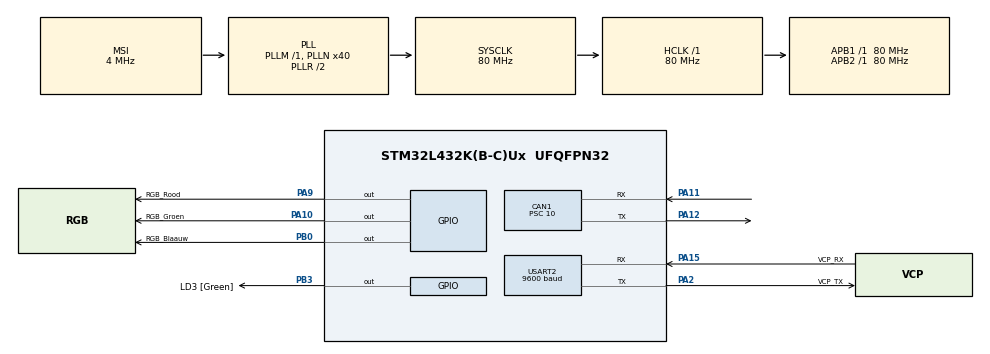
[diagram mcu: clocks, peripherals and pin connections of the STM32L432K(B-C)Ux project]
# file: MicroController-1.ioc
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CAN1.AWUM=ENABLE
CAN1.BS1=CAN_BS1_13TQ
CAN1.BS2=CAN_BS2_2TQ
CAN1.CalculateBaudRate=500000
CAN1.CalculateTimeBit=2000
CAN1.CalculateTimeQuantum=125.0
CAN1.NART=ENABLE
CAN1.Prescaler=10
Mcu.Family=STM32L4
Mcu.Name=STM32L432K(B-C)Ux
Mcu.Package=UFQFPN32
NVIC.CAN1_RX0_IRQn=true\:0\:0\:false\:false\:true\:true\:true\:true
NVIC.PriorityGroup=NVIC_PRIORITYGROUP_4
PA0.GPIO_Label=MCO [High speed clock in]
PA0.Mode=HSE-External-Clock-Source-for-LittleOrca
PA0.Signal=RCC_CK_IN
PA10.GPIO_Label=RGB_Groen
PA10.Signal=GPIO_Output
PA11.Mode=CAN_Activate
PA11.Signal=CAN1_RX
PA12.Mode=CAN_Activate
PA12.Signal=CAN1_TX
PA13\ (JTMS-SWDIO).GPIO_Label=SWDIO
PA13\ (JTMS-SWDIO).Mode=Serial_Wire
PA13\ (JTMS-SWDIO).Signal=SYS_JTMS-SWDIO
PA14\ (JTCK-SWCLK).GPIO_Label=SWCLK
PA14\ (JTCK-SWCLK).Mode=Serial_Wire
PA14\ (JTCK-SWCLK).Signal=SYS_JTCK-SWCLK
PA15\ (JTDI).GPIO_Label=VCP_RX
PA15\ (JTDI).Mode=Asynchronous
PA15\ (JTDI).Signal=USART2_RX
PA2.GPIO_Label=VCP_TX
PA2.Mode=Asynchronous
PA2.Signal=USART2_TX
PA9.GPIO_Label=RGB_Rood
PA9.Signal=GPIO_Output
PB0.GPIO_Label=RGB_Blaauw
PB0.Signal=GPIO_Output
PB3\ (JTDO-TRACESWO).GPIO_Label=LD3 [Green]
PB3\ (JTDO-TRACESWO).GPIO_Speed=GPIO_SPEED_FREQ_LOW
PB3\ (JTDO-TRACESWO).Signal=GPIO_Output
PC14-OSC32_IN\ (PC14).Mode=LSE-External-Oscillator
PC14-OSC32_IN\ (PC14).Signal=RCC_OSC32_IN
PC15-OSC32_OUT\ (PC15).Mode=LSE-External-Oscillator
PC15-OSC32_OUT\ (PC15).Signal=RCC_OSC32_OUT
ProjectManager.HeapSize=0x200
ProjectManager.StackSize=0x400
ProjectManager.TargetToolchain=STM32CubeIDE
RCC.AHBFreq_Value=80000000
RCC.APB1Freq_Value=80000000
RCC.APB1TimFreq_Value=80000000
RCC.APB2Freq_Value=80000000
RCC.APB2TimFreq_Value=80000000
RCC.CortexFreq_Value=80000000
RCC.HCLKFreq_Value=80000000
RCC.HSE_VALUE=8000000
RCC.HSI16_VALUE=16000000
RCC.HSI48_VALUE=48000000
RCC.HSI_VALUE=16000000
RCC.MSI_VALUE=4000000
RCC.PLLMUL=RCC_PLLMUL_4
RCC.PLLN=40
RCC.SYSCLKFreq_VALUE=80000000
RCC.SYSCLKSource=RCC_SYSCLKSOURCE_PLLCLK
RCC.VCOOutputFreq_Value=160000000
USART2.BaudRate=9600
USART2.VirtualMode-Asynchronous=VM_ASYNC
board=NUCLEO-L432KC

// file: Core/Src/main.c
/* USER CODE BEGIN Header */
/**
  ******************************************************************************
  * @file           : main.c
  * @brief          : Main program body
  ******************************************************************************
  * @attention
  *
  * Copyright (c) 2026 STMicroelectronics.
  * All rights reserved.
  *
  * This software is licensed under terms that can be found in the LICENSE file
  * in the root directory of this software component.
  * If no LICENSE file comes with this software, it is provided AS-IS.
  *
  ******************************************************************************
  */
/* USER CODE END Header */
#include "main.h"

/* USER CODE BEGIN Includes */
#include <stdio.h>
#include <string.h>
/* USER CODE END Includes */

CAN_HandleTypeDef hcan1;

UART_HandleTypeDef huart2;

/* USER CODE BEGIN PV */
CAN_TxHeaderTypeDef TxHeader;
CAN_RxHeaderTypeDef RxHeader;
uint8_t TxData[8];
uint8_t RxData[8];
uint32_t TxMailbox;
uint8_t datacheck = 0;
uint8_t RTRReceived = 0;
/* USER CODE END PV */

void SystemClock_Config(void);
static void MX_GPIO_Init(void);
static void MX_USART2_UART_Init(void);
static void MX_CAN1_Init(void);
/* USER CODE BEGIN PFP */
void SendCanMessage(int dataLength, uint64_t data);
/* USER CODE END PFP */

/* USER CODE BEGIN 0 */
void DiscoDisco (){
	  HAL_GPIO_WritePin(GPIOA, RGB_Rood_Pin, GPIO_PIN_SET);
	  HAL_Delay(200);
	  HAL_GPIO_WritePin(GPIOA, RGB_Rood_Pin, GPIO_PIN_RESET);
	  HAL_GPIO_WritePin(GPIOA, RGB_Groen_Pin, GPIO_PIN_SET);
	  HAL_Delay(200);
	  HAL_GPIO_WritePin(GPIOA, RGB_Groen_Pin, GPIO_PIN_RESET);
	  HAL_GPIO_WritePin(GPIOB, RGB_Blaauw_Pin, GPIO_PIN_SET);
	  HAL_Delay(200);
	  HAL_GPIO_WritePin(GPIOB, RGB_Blaauw_Pin, GPIO_PIN_RESET);
}
/* USER CODE END 0 */

int main(void)
{

  /* MCU Configuration--------------------------------------------------------*/

  /* Reset of all peripherals, Initializes the Flash interface and the Systick. */
  HAL_Init();

  /* Configure the system clock */
  SystemClock_Config();

  /* Initialize all configured peripherals */
  MX_GPIO_Init();
  MX_USART2_UART_Init();
  MX_CAN1_Init();
  /* USER CODE BEGIN 2 */
  CAN_FilterTypeDef canfilterconfig;

  canfilterconfig.FilterActivation = CAN_FILTER_ENABLE;
  canfilterconfig.FilterBank = 0;  // which filter bank to use from the assigned ones
  canfilterconfig.FilterFIFOAssignment = CAN_FILTER_FIFO0;
  canfilterconfig.FilterIdHigh = 0x113<<5;
  canfilterconfig.FilterIdLow = 0;
  canfilterconfig.FilterMaskIdHigh = 0x7FC<<5;
  canfilterconfig.FilterMaskIdLow = 0x0000;
  canfilterconfig.FilterMode = CAN_FILTERMODE_IDMASK;
  canfilterconfig.FilterScale = CAN_FILTERSCALE_32BIT;
  canfilterconfig.SlaveStartFilterBank = 10;  // how many filters to assign to the CAN1 (master can)

  HAL_CAN_ConfigFilter(&hcan1, &canfilterconfig);

  if (HAL_CAN_Start(&hcan1) != HAL_OK) {
	  Error_Handler();
  }

  TxHeader.IDE = CAN_ID_STD;
  TxHeader.StdId = 0x112;
  TxHeader.RTR = CAN_RTR_DATA;
  TxHeader.DLC = 1;

  if (HAL_CAN_ActivateNotification(&hcan1, CAN_IT_RX_FIFO0_MSG_PENDING) != HAL_OK)
  {
	  Error_Handler();
  }
  HAL_Delay(100);
  /* USER CODE END 2 */

  /* Infinite loop */
  /* USER CODE BEGIN WHILE */
  while (1)
  {
	  if (datacheck) {
		  DiscoDisco();
	  }

	  if (RTRReceived) {
		  RTRReceived = 0;
		  uint64_t StuurSensor = 0xAABB;
		  SendCanMessage(2, StuurSensor);
	  }
//	  uint8_t data = 0x03;
//	  HAL_I2C_Master_Transmit(&hi2c3, 0x01 << 1, &data, 1, HAL_MAX_DELAY);
    /* USER CODE END WHILE */

  }
}

void SystemClock_Config(void)
{
  RCC_OscInitTypeDef RCC_OscInitStruct = {0};
  RCC_ClkInitTypeDef RCC_ClkInitStruct = {0};

  /** Configure the main internal regulator output voltage
  */
  if (HAL_PWREx_ControlVoltageScaling(PWR_REGULATOR_VOLTAGE_SCALE1) != HAL_OK)
  {
    Error_Handler();
  }

  /** Configure LSE Drive Capability
  */
  HAL_PWR_EnableBkUpAccess();
  __HAL_RCC_LSEDRIVE_CONFIG(RCC_LSEDRIVE_LOW);

  /** Initializes the RCC Oscillators according to the specified parameters
  * in the RCC_OscInitTypeDef structure.
  */
  RCC_OscInitStruct.OscillatorType = RCC_OSCILLATORTYPE_LSE|RCC_OSCILLATORTYPE_MSI;
  RCC_OscInitStruct.LSEState = RCC_LSE_ON;
  RCC_OscInitStruct.MSIState = RCC_MSI_ON;
  RCC_OscInitStruct.MSICalibrationValue = 0;
  RCC_OscInitStruct.MSIClockRange = RCC_MSIRANGE_6;
  RCC_OscInitStruct.PLL.PLLState = RCC_PLL_ON;
  RCC_OscInitStruct.PLL.PLLSource = RCC_PLLSOURCE_MSI;
  RCC_OscInitStruct.PLL.PLLM = 1;
  RCC_OscInitStruct.PLL.PLLN = 40;
  RCC_OscInitStruct.PLL.PLLP = RCC_PLLP_DIV7;
  RCC_OscInitStruct.PLL.PLLQ = RCC_PLLQ_DIV2;
  RCC_OscInitStruct.PLL.PLLR = RCC_PLLR_DIV2;
  if (HAL_RCC_OscConfig(&RCC_OscInitStruct) != HAL_OK)
  {
    Error_Handler();
  }

  /** Initializes the CPU, AHB and APB buses clocks
  */
  RCC_ClkInitStruct.ClockType = RCC_CLOCKTYPE_HCLK|RCC_CLOCKTYPE_SYSCLK
                              |RCC_CLOCKTYPE_PCLK1|RCC_CLOCKTYPE_PCLK2;
  RCC_ClkInitStruct.SYSCLKSource = RCC_SYSCLKSOURCE_PLLCLK;
  RCC_ClkInitStruct.AHBCLKDivider = RCC_SYSCLK_DIV1;
  RCC_ClkInitStruct.APB1CLKDivider = RCC_HCLK_DIV1;
  RCC_ClkInitStruct.APB2CLKDivider = RCC_HCLK_DIV1;

  if (HAL_RCC_ClockConfig(&RCC_ClkInitStruct, FLASH_LATENCY_4) != HAL_OK)
  {
    Error_Handler();
  }

  /** Enable MSI Auto calibration
  */
  HAL_RCCEx_EnableMSIPLLMode();
}

static void MX_CAN1_Init(void)
{

  hcan1.Instance = CAN1;
  hcan1.Init.Prescaler = 10;
  hcan1.Init.Mode = CAN_MODE_NORMAL;
  hcan1.Init.SyncJumpWidth = CAN_SJW_1TQ;
  hcan1.Init.TimeSeg1 = CAN_BS1_13TQ;
  hcan1.Init.TimeSeg2 = CAN_BS2_2TQ;
  hcan1.Init.TimeTriggeredMode = DISABLE;
  hcan1.Init.AutoBusOff = DISABLE;
  hcan1.Init.AutoWakeUp = ENABLE;
  hcan1.Init.AutoRetransmission = ENABLE;
  hcan1.Init.ReceiveFifoLocked = DISABLE;
  hcan1.Init.TransmitFifoPriority = DISABLE;
  if (HAL_CAN_Init(&hcan1) != HAL_OK)
  {
    Error_Handler();
  }

}

static void MX_USART2_UART_Init(void)
{

  huart2.Instance = USART2;
  huart2.Init.BaudRate = 9600;
  huart2.Init.WordLength = UART_WORDLENGTH_8B;
  huart2.Init.StopBits = UART_STOPBITS_1;
  huart2.Init.Parity = UART_PARITY_NONE;
  huart2.Init.Mode = UART_MODE_TX_RX;
  huart2.Init.HwFlowCtl = UART_HWCONTROL_NONE;
  huart2.Init.OverSampling = UART_OVERSAMPLING_16;
  huart2.Init.OneBitSampling = UART_ONE_BIT_SAMPLE_DISABLE;
  huart2.AdvancedInit.AdvFeatureInit = UART_ADVFEATURE_NO_INIT;
  if (HAL_UART_Init(&huart2) != HAL_OK)
  {
    Error_Handler();
  }

}

static void MX_GPIO_Init(void)
{
  GPIO_InitTypeDef GPIO_InitStruct = {0};

  /* GPIO Ports Clock Enable */
  __HAL_RCC_GPIOC_CLK_ENABLE();
  __HAL_RCC_GPIOA_CLK_ENABLE();
  __HAL_RCC_GPIOB_CLK_ENABLE();

  /*Configure GPIO pin Output Level */
  HAL_GPIO_WritePin(GPIOB, RGB_Blaauw_Pin|LD3_Pin, GPIO_PIN_RESET);

  /*Configure GPIO pin Output Level */
  HAL_GPIO_WritePin(GPIOA, RGB_Rood_Pin|RGB_Groen_Pin, GPIO_PIN_RESET);

  /*Configure GPIO pins : RGB_Blaauw_Pin LD3_Pin */
  GPIO_InitStruct.Pin = RGB_Blaauw_Pin|LD3_Pin;
  GPIO_InitStruct.Mode = GPIO_MODE_OUTPUT_PP;
  GPIO_InitStruct.Pull = GPIO_NOPULL;
  GPIO_InitStruct.Speed = GPIO_SPEED_FREQ_LOW;
  HAL_GPIO_Init(GPIOB, &GPIO_InitStruct);

  /*Configure GPIO pins : RGB_Rood_Pin RGB_Groen_Pin */
  GPIO_InitStruct.Pin = RGB_Rood_Pin|RGB_Groen_Pin;
  GPIO_InitStruct.Mode = GPIO_MODE_OUTPUT_PP;
  GPIO_InitStruct.Pull = GPIO_NOPULL;
  GPIO_InitStruct.Speed = GPIO_SPEED_FREQ_LOW;
  HAL_GPIO_Init(GPIOA, &GPIO_InitStruct);

}

/* USER CODE BEGIN 4 */
void HAL_CAN_RxFifo0MsgPendingCallback(CAN_HandleTypeDef *hcan) {
  if (HAL_CAN_GetRxMessage(hcan, CAN_RX_FIFO0, &RxHeader, RxData) != HAL_OK) {
    Error_Handler();
  }
  if ((RxHeader.StdId == 0x113)) {
	  if (RxData[0] == 0x01) {
		  datacheck = 1;
	  } else if (RxData[0] == 0x02) {
		  datacheck =0;
	  }
  }

  if (RxHeader.RTR == CAN_RTR_REMOTE && RxHeader.StdId == 0x112) {
	  RTRReceived = 1;
  }
}

void SendCanMessage(int dataLength, uint64_t data) {
	uint8_t tempData[8] = {
			data,
			data >> 8,
			data >> 16,
			data >> 24,
			data >> 32,
			data >> 40,
			data >> 48,
			data >> 56
	};
	int y = 0;
	for (int i = dataLength - 1; i >= 0 ; i--) {
		TxData[i] = tempData[y];
		y++;
	}
	TxHeader.DLC = dataLength;

	if (HAL_CAN_AddTxMessage(&hcan1, &TxHeader, TxData, &TxMailbox) != HAL_OK) {
		Error_Handler ();
	}
}
/* USER CODE END 4 */

void Error_Handler(void)
{
  __disable_irq();
  while (1)
  {
  }
}
